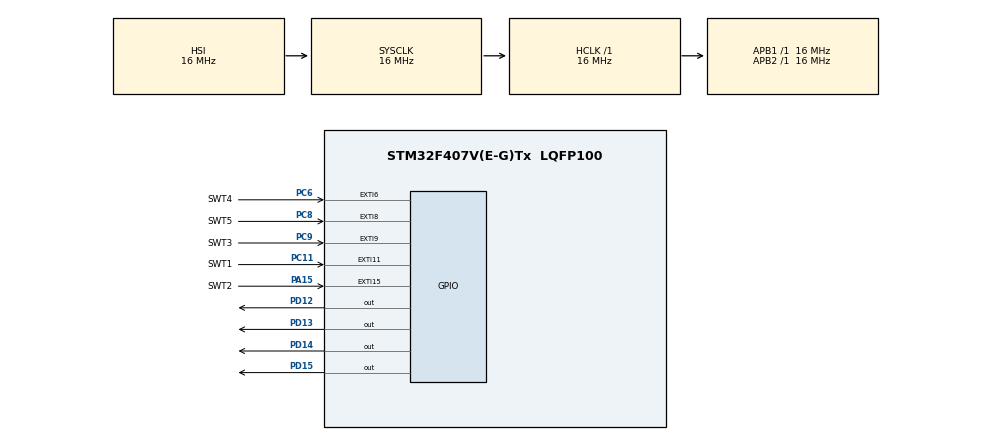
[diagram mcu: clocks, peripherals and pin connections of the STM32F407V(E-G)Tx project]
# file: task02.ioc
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Mcu.Family=STM32F4
Mcu.Name=STM32F407V(E-G)Tx
Mcu.Package=LQFP100
NVIC.EXTI15_10_IRQn=true\:0\:0\:false\:false\:true\:true\:true\:true
NVIC.EXTI9_5_IRQn=true\:0\:0\:false\:false\:true\:true\:true\:true
NVIC.PriorityGroup=NVIC_PRIORITYGROUP_4
PA15.GPIO_Label=SWT2
PA15.Signal=GPXTI15
PC11.GPIO_Label=SWT1
PC11.GPIO_ModeDefaultEXTI=GPIO_MODE_IT_RISING
PC11.Signal=GPXTI11
PC6.GPIO_Label=SWT4
PC6.Signal=GPXTI6
PC8.GPIO_Label=SWT5
PC8.Signal=GPXTI8
PC9.GPIO_Label=SWT3
PC9.Signal=GPXTI9
PD12.Signal=GPIO_Output
PD13.Signal=GPIO_Output
PD14.Signal=GPIO_Output
PD15.Signal=GPIO_Output
ProjectManager.HeapSize=0x200
ProjectManager.StackSize=0x400
ProjectManager.TargetToolchain=STM32CubeIDE
RCC.AHBFreq_Value=16000000
RCC.APB1Freq_Value=16000000
RCC.APB2Freq_Value=16000000
RCC.CortexFreq_Value=16000000
RCC.HSE_VALUE=25000000
RCC.HSI_VALUE=16000000
RCC.LSE_VALUE=32768
RCC.SYSCLKFreq_VALUE=16000000
RCC.VCOOutputFreq_Value=192000000
board=custom

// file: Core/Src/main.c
/* USER CODE BEGIN Header */
/**
  ******************************************************************************
  * @file           : main.c
  * @brief          : Main program body
  ******************************************************************************
  * @attention
  *
  * Copyright (c) 2023 STMicroelectronics.
  * All rights reserved.
  *
  * This software is licensed under terms that can be found in the LICENSE file
  * in the root directory of this software component.
  * If no LICENSE file comes with this software, it is provided AS-IS.
  *
  ******************************************************************************
  */
/* USER CODE END Header */
#include "main.h"

/* USER CODE BEGIN PV */
uint8_t flag = 0;
uint16_t delay = 300;
uint8_t schemeVar = 1;

/* USER CODE END PV */

void SystemClock_Config(void);
static void MX_GPIO_Init(void);
/* USER CODE BEGIN PFP */

void BlinkingSchemes_1(void);
void BlinkingSchemes_2(void);
void BlinkingSchemes_3(void);
void BlinkingSchemes_3(void);
void BlinkingSchemes_4(void);

/* USER CODE END PFP */

int main(void)
{

  /* MCU Configuration--------------------------------------------------------*/

  /* Reset of all peripherals, Initializes the Flash interface and the Systick. */
  HAL_Init();

  /* Configure the system clock */
  SystemClock_Config();

  /* Initialize all configured peripherals */
  MX_GPIO_Init();

  /* Infinite loop */
  while (1)
  {

    /* USER CODE BEGIN 3 */
	  if (flag == 1)
	  {
		 switch (schemeVar)
		 {
			case 1:
				BlinkingSchemes_1();
				break;
			case 2:
				BlinkingSchemes_2();
				break;
			case 3:
				BlinkingSchemes_3();
				break;
			case 4:
				BlinkingSchemes_4();
				break;
			default:
				break;
		}
	  }
	  else
	  {
		  HAL_GPIO_WritePin(GPIOD, GPIO_PIN_12|GPIO_PIN_13|GPIO_PIN_14|GPIO_PIN_15, GPIO_PIN_RESET);
	  }
  }
  /* USER CODE END 3 */
}

void SystemClock_Config(void)
{
  RCC_OscInitTypeDef RCC_OscInitStruct = {0};
  RCC_ClkInitTypeDef RCC_ClkInitStruct = {0};

  /** Configure the main internal regulator output voltage
  */
  __HAL_RCC_PWR_CLK_ENABLE();
  __HAL_PWR_VOLTAGESCALING_CONFIG(PWR_REGULATOR_VOLTAGE_SCALE1);

  /** Initializes the RCC Oscillators according to the specified parameters
  * in the RCC_OscInitTypeDef structure.
  */
  RCC_OscInitStruct.OscillatorType = RCC_OSCILLATORTYPE_HSI;
  RCC_OscInitStruct.HSIState = RCC_HSI_ON;
  RCC_OscInitStruct.HSICalibrationValue = RCC_HSICALIBRATION_DEFAULT;
  RCC_OscInitStruct.PLL.PLLState = RCC_PLL_NONE;
  if (HAL_RCC_OscConfig(&RCC_OscInitStruct) != HAL_OK)
  {
    Error_Handler();
  }

  /** Initializes the CPU, AHB and APB buses clocks
  */
  RCC_ClkInitStruct.ClockType = RCC_CLOCKTYPE_HCLK|RCC_CLOCKTYPE_SYSCLK
                              |RCC_CLOCKTYPE_PCLK1|RCC_CLOCKTYPE_PCLK2;
  RCC_ClkInitStruct.SYSCLKSource = RCC_SYSCLKSOURCE_HSI;
  RCC_ClkInitStruct.AHBCLKDivider = RCC_SYSCLK_DIV1;
  RCC_ClkInitStruct.APB1CLKDivider = RCC_HCLK_DIV1;
  RCC_ClkInitStruct.APB2CLKDivider = RCC_HCLK_DIV1;

  if (HAL_RCC_ClockConfig(&RCC_ClkInitStruct, FLASH_LATENCY_0) != HAL_OK)
  {
    Error_Handler();
  }
}

static void MX_GPIO_Init(void)
{
  GPIO_InitTypeDef GPIO_InitStruct = {0};

  /* GPIO Ports Clock Enable */
  __HAL_RCC_GPIOD_CLK_ENABLE();
  __HAL_RCC_GPIOC_CLK_ENABLE();
  __HAL_RCC_GPIOA_CLK_ENABLE();

  /*Configure GPIO pin Output Level */
  HAL_GPIO_WritePin(GPIOD, GPIO_PIN_12|GPIO_PIN_13|GPIO_PIN_14|GPIO_PIN_15, GPIO_PIN_RESET);

  /*Configure GPIO pins : PD12 PD13 PD14 PD15 */
  GPIO_InitStruct.Pin = GPIO_PIN_12|GPIO_PIN_13|GPIO_PIN_14|GPIO_PIN_15;
  GPIO_InitStruct.Mode = GPIO_MODE_OUTPUT_PP;
  GPIO_InitStruct.Pull = GPIO_NOPULL;
  GPIO_InitStruct.Speed = GPIO_SPEED_FREQ_LOW;
  HAL_GPIO_Init(GPIOD, &GPIO_InitStruct);

  /*Configure GPIO pins : SWT4_Pin SWT5_Pin SWT3_Pin SWT1_Pin */
  GPIO_InitStruct.Pin = SWT4_Pin|SWT5_Pin|SWT3_Pin|SWT1_Pin;
  GPIO_InitStruct.Mode = GPIO_MODE_IT_RISING;
  GPIO_InitStruct.Pull = GPIO_NOPULL;
  HAL_GPIO_Init(GPIOC, &GPIO_InitStruct);

  /*Configure GPIO pin : SWT2_Pin */
  GPIO_InitStruct.Pin = SWT2_Pin;
  GPIO_InitStruct.Mode = GPIO_MODE_IT_RISING;
  GPIO_InitStruct.Pull = GPIO_NOPULL;
  HAL_GPIO_Init(SWT2_GPIO_Port, &GPIO_InitStruct);

  /* EXTI interrupt init*/
  HAL_NVIC_SetPriority(EXTI9_5_IRQn, 0, 0);
  HAL_NVIC_EnableIRQ(EXTI9_5_IRQn);

  HAL_NVIC_SetPriority(EXTI15_10_IRQn, 0, 0);
  HAL_NVIC_EnableIRQ(EXTI15_10_IRQn);

}

/* USER CODE BEGIN 4 */

void HAL_GPIO_EXTI_Callback(uint16_t GPIO_Pin)
{
	if (GPIO_Pin == SWT1_Pin)
	{
		if (delay != 0)
		{
			delay -= 50;
		};
	}
	if (GPIO_Pin == SWT2_Pin)
	{
		if (flag == 0)
		{
			flag = 1;
		}
		else
		{
			flag = 0;
		}
	}
	if (GPIO_Pin == SWT3_Pin)
	{
		if (delay != 3000)
		{
			delay += 50;
		};
	}
	if (GPIO_Pin == SWT4_Pin)
	{
		if(schemeVar < 4)
		{
			schemeVar++;
		}
	}
	if (GPIO_Pin == SWT5_Pin)
	{
		if(schemeVar > 1)
		{
			schemeVar--;
		}
	}

}

void BlinkingSchemes_1(void)
{
	if (flag == 1)
	{
	  HAL_GPIO_WritePin(GPIOD, GPIO_PIN_12, GPIO_PIN_SET);
	  HAL_Delay(delay);
	  HAL_GPIO_WritePin(GPIOD, GPIO_PIN_12, GPIO_PIN_RESET);
	}
	if (flag == 1)
	{
	  HAL_GPIO_WritePin(GPIOD, GPIO_PIN_13, GPIO_PIN_SET);
	  HAL_Delay(delay);
	  HAL_GPIO_WritePin(GPIOD, GPIO_PIN_13, GPIO_PIN_RESET);
	}
	if (flag == 1)
	{
	  HAL_GPIO_WritePin(GPIOD, GPIO_PIN_14, GPIO_PIN_SET);
	  HAL_Delay(delay);
	  HAL_GPIO_WritePin(GPIOD, GPIO_PIN_14, GPIO_PIN_RESET);
	}
	if (flag == 1)
	{
	  HAL_GPIO_WritePin(GPIOD, GPIO_PIN_15, GPIO_PIN_SET);
	  HAL_Delay(delay);
	  HAL_GPIO_WritePin(GPIOD, GPIO_PIN_15, GPIO_PIN_RESET);
	}
}

void BlinkingSchemes_2(void)
{
	if (flag == 1)
	{
	  HAL_GPIO_WritePin(GPIOD, GPIO_PIN_12|GPIO_PIN_14, GPIO_PIN_SET);
	  HAL_Delay(delay);
	  HAL_GPIO_WritePin(GPIOD, GPIO_PIN_12|GPIO_PIN_14, GPIO_PIN_RESET);
	}
	if (flag == 1)
	{
	  HAL_GPIO_WritePin(GPIOD, GPIO_PIN_15|GPIO_PIN_13, GPIO_PIN_SET);
	  HAL_Delay(delay);
	  HAL_GPIO_WritePin(GPIOD, GPIO_PIN_15|GPIO_PIN_13, GPIO_PIN_RESET);
	}
}

void BlinkingSchemes_3(void)
{
	if (flag == 1)
	{
	  HAL_GPIO_WritePin(GPIOD, GPIO_PIN_15|GPIO_PIN_14, GPIO_PIN_SET);
	  HAL_Delay(delay);
	  HAL_GPIO_WritePin(GPIOD, GPIO_PIN_15|GPIO_PIN_14, GPIO_PIN_RESET);
	}
	if (flag == 1)
	{
	  HAL_GPIO_WritePin(GPIOD, GPIO_PIN_12|GPIO_PIN_13, GPIO_PIN_SET);
	  HAL_Delay(delay);
	  HAL_GPIO_WritePin(GPIOD, GPIO_PIN_12|GPIO_PIN_13, GPIO_PIN_RESET);
	}
}

void BlinkingSchemes_4(void)
{
	if (flag == 1)
	{
	  HAL_GPIO_WritePin(GPIOD, GPIO_PIN_12, GPIO_PIN_SET);
	  HAL_Delay(delay);
	  HAL_GPIO_WritePin(GPIOD, GPIO_PIN_13, GPIO_PIN_RESET);
	  HAL_Delay(delay);
	}
	if (flag == 1)
	{
	  HAL_GPIO_WritePin(GPIOD, GPIO_PIN_15, GPIO_PIN_SET);
	  HAL_Delay(delay);
	  HAL_GPIO_WritePin(GPIOD, GPIO_PIN_12, GPIO_PIN_RESET);

	  HAL_Delay(delay);
	}
	if (flag == 1)
	{
	  HAL_GPIO_WritePin(GPIOD, GPIO_PIN_14, GPIO_PIN_SET);
	  HAL_Delay(delay);
	  HAL_GPIO_WritePin(GPIOD, GPIO_PIN_15, GPIO_PIN_RESET);
	  HAL_Delay(delay);
	}
	if (flag == 1)
	{
	  HAL_GPIO_WritePin(GPIOD, GPIO_PIN_13, GPIO_PIN_SET);
	  HAL_Delay(delay);
	  HAL_GPIO_WritePin(GPIOD, GPIO_PIN_14, GPIO_PIN_RESET);
	  HAL_Delay(delay);
	}
}

/* USER CODE END 4 */

void Error_Handler(void)
{
  __disable_irq();
  while (1)
  {
  }
}
